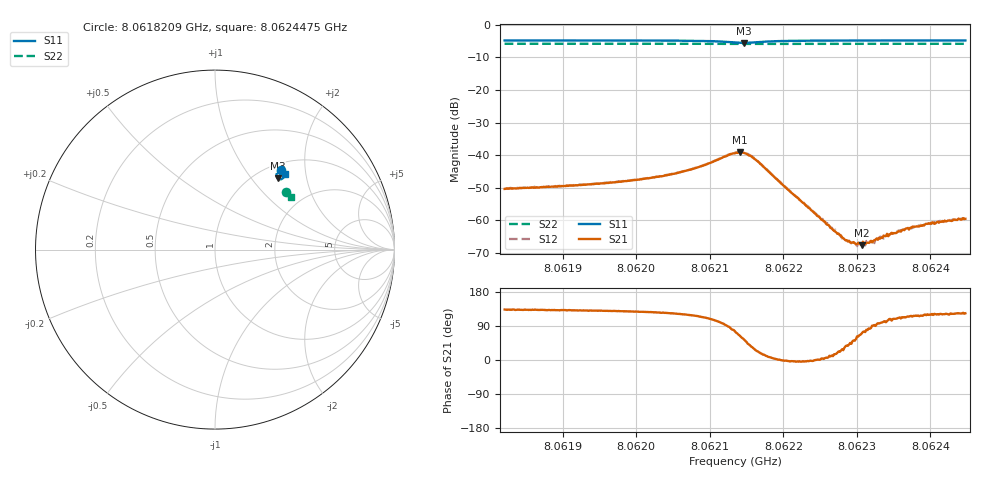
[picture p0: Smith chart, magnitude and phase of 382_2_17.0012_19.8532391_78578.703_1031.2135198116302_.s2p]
#  HZ  S  RI  R  50.00
! Rohde & Schwarz Vector Network Analyzer
! Rohde-Schwarz,ZNB20-2Port,1311601062101988,3.16
! Created: UTC 3/20/2024, 11:09:11 PM
! freq[Hz]  re:S11  im:S11  re:S21  im:S21  re:S12  im:S12  re:S22  im:S22
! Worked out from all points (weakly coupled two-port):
!   401 points, 8.0618209 GHz to 8.0624475 GHz, reference 50 ohm
!   highest |S21| = -39.15 dB at 8.0621405 GHz (marker M1); lowest = -67.6 dB at 8.0623065 GHz (marker M2)
!   lowest |S11| = -5.5 dB at 8.0621467 GHz (marker M3), VSWR 3.25, Z = 61.9 + j68.3 ohm
!   |S11| at or under -10 dB: nowhere
!   |S22| runs from -5.9 to -5.8 dB; largest |S21 - S12| = 0.0009
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8.06182093e9  0.3656 0.4451  -0.00207 0.00221  -0.00195 0.00237  0.3983 0.3224
8.06192588e9  0.3728 0.4387  -0.00226 0.00265  -0.00219 0.00275  0.4022 0.3173
8.06198697e9  0.3775 0.434  -0.00248 0.00312  -0.00231 0.00332  0.4044 0.314
8.06203082e9  0.3813 0.4291  -0.00271 0.00381  -0.00249 0.00401  0.4062 0.3118
8.06207781e9  0.3854 0.4195  -0.00285 0.00548  -0.00252 0.0057  0.4079 0.309
8.0621342e9  0.3659 0.3919  0.00267 0.0103  0.00345 0.0104  0.4086 0.3055
8.06214047e9  0.3571 0.3929  0.00472 0.00996  0.00533 0.00965  0.4084 0.3052
8.06214673e9  0.3489 0.3977  0.00641 0.00868  0.00708 0.00829  0.4083 0.3053
8.06215613e9  0.3425 0.4096  0.00784 0.0056  0.00814 0.00522  0.4085 0.3056
8.06216553e9  0.3434 0.4212  0.0074 0.00302  0.00746 0.00264  0.409 0.3056
8.06223915e9  0.3722 0.4346  0.00139 -6.34e-05  0.0014 -0.000139  0.413 0.3022
8.06228144e9  0.3789 0.4319  0.000477 0.000231  0.00046 0.000224  0.4147 0.3
8.0622877e9  0.3796 0.4314  0.000379 0.00029  0.000397 0.000244  0.4149 0.2997
8.0622971e9  0.3807 0.4308  0.000279 0.000347  0.000278 0.000319  0.4152 0.2993
8.0623065e9  0.3816 0.4301  0.000143 0.000391  0.000172 0.000381  0.4156 0.2988
8.06231903e9  0.3829 0.4293  4.85e-05 0.000481  7.13e-05 0.000459  0.4161 0.2982
8.06232843e9  0.3839 0.4288  -6.15e-05 0.000498  -2.22e-05 0.000529  0.4164 0.2975
8.06234409e9  0.385 0.4278  -0.000191 0.000577  -9.36e-05 0.000581  0.417 0.2968
8.06235819e9  0.3863 0.427  -0.000256 0.000624  -0.000204 0.000673  0.4174 0.296
8.06238325e9  0.3882 0.4255  -0.000368 0.00071  -0.00032 0.000767  0.4183 0.2947
8.06240048e9  0.3895 0.4244  -0.000433 0.000767  -0.000399 0.000777  0.419 0.2938
8.06244747e9  0.3927 0.4217  -0.000576 0.000881  -0.000541 0.000936  0.4207 0.2914
